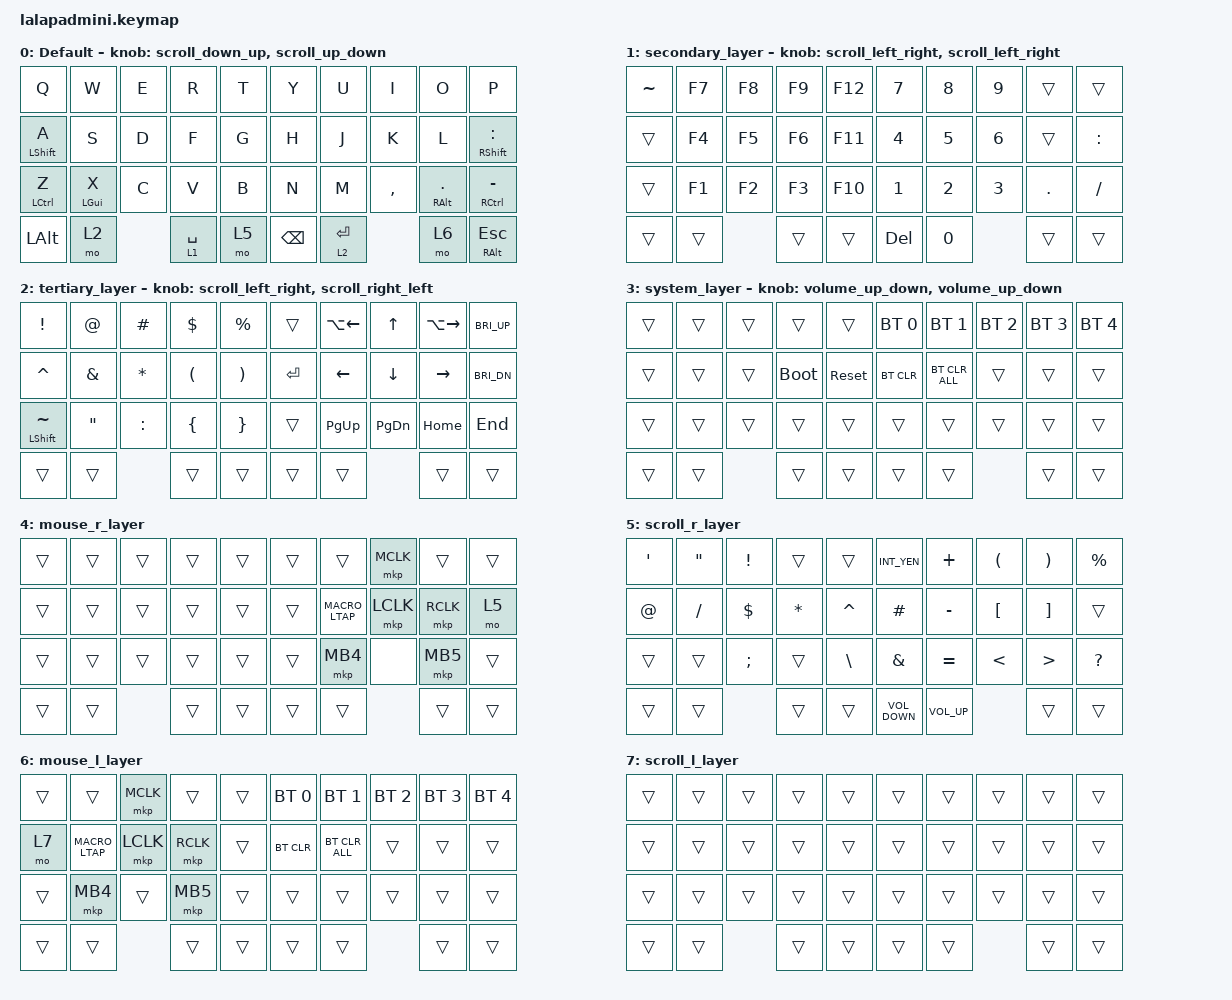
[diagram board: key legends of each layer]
#include <input/processors.dtsi>
#include <behaviors.dtsi>
#include <dt-bindings/zmk/bt.h>
#include <dt-bindings/zmk/keys.h>
#include <dt-bindings/zmk/pointing.h>

#define DEFAULT_LAYER   0
#define SECONDARY_LAYER 1
#define TERTIARY_LAYER  2
#define SYSTEM_LAYER    3
#define MOUSE_R_LAYER   4
#define SCROLL_R_LAYER  5
#define MOUSE_L_LAYER   6
#define SCROLL_L_LAYER  7

// Mouse Scroll Value

#define ZMK_POINTING_DEFAULT_SCRL_VAL 100

// cirque trackpad input&layer control

&glidepoint_listener_R {
    input-processors =
        <&zip_xy_transform (INPUT_TRANSFORM_XY_SWAP | INPUT_TRANSFORM_X_INVERT | INPUT_TRANSFORM_Y_INVERT)>,
        <&zip_xy_scaler 3 2>;

    lowspeedmode {
        layers = <SECONDARY_LAYER>;
        input-processors =
            <&zip_xy_transform (INPUT_TRANSFORM_XY_SWAP | INPUT_TRANSFORM_X_INVERT | INPUT_TRANSFORM_Y_INVERT)>,
            <&zip_xy_scaler 3 5>,
            <&zip_temp_layer MOUSE_R_LAYER 300>;
    };

    scroller {
        layers = <SCROLL_R_LAYER>;
        input-processors =
            <&zip_xy_to_scroll_mapper>,
            <&zip_scroll_transform (INPUT_TRANSFORM_XY_SWAP | INPUT_TRANSFORM_Y_INVERT)>,
            <&zip_scroll_scaler 1 32>;
    };
};

&glidepoint_listener_L {
    input-processors =
        <&zip_xy_transform (INPUT_TRANSFORM_XY_SWAP | INPUT_TRANSFORM_X_INVERT | INPUT_TRANSFORM_Y_INVERT)>,
        <&zip_xy_scaler 3 2>,
        <&zip_temp_layer MOUSE_L_LAYER 300>;

    lowspeedmode {
        layers = <TERTIARY_LAYER>;
        input-processors =
            <&zip_xy_transform (INPUT_TRANSFORM_XY_SWAP | INPUT_TRANSFORM_X_INVERT | INPUT_TRANSFORM_Y_INVERT)>,
            <&zip_xy_scaler 3 4>,
            <&zip_temp_layer MOUSE_L_LAYER 300>;
    };

    scroller {
        layers = <SCROLL_L_LAYER>;
        input-processors =
            <&zip_xy_to_scroll_mapper>,
            <&zip_scroll_transform (INPUT_TRANSFORM_XY_SWAP | INPUT_TRANSFORM_Y_INVERT)>,
            <&zip_scroll_scaler 1 32>;
    };
};

&mt { quick-tap-ms = <200>; };

&lt { quick-tap-ms = <200>; };

/ {
    behaviors {
        // Encoder to Mouse Scroll

        scroll_up_down: behavior_sensor_rotate_mouse_wheel_up_down {
            compatible = "zmk,behavior-sensor-rotate";
            #sensor-binding-cells = <0>;
            bindings = <&msc SCRL_UP>, <&msc SCRL_DOWN>;

            tap-ms = <20>;
        };

        scroll_down_up: behavior_sensor_rotate_mouse_wheel_down_up {
            compatible = "zmk,behavior-sensor-rotate";
            #sensor-binding-cells = <0>;
            bindings = <&msc SCRL_DOWN>, <&msc SCRL_UP>;

            tap-ms = <20>;
        };

        scroll_left_right: behavior_sensor_rotate_mouse_wheel_left_right {
            compatible = "zmk,behavior-sensor-rotate";
            #sensor-binding-cells = <0>;
            bindings = <&msc SCRL_LEFT>, <&msc SCRL_RIGHT>;

            tap-ms = <20>;
        };

        scroll_right_left: behavior_sensor_rotate_mouse_wheel_right_left {
            compatible = "zmk,behavior-sensor-rotate";
            #sensor-binding-cells = <0>;
            bindings = <&msc SCRL_RIGHT>, <&msc SCRL_LEFT>;

            tap-ms = <20>;
        };

        volume_up_down: behavior_sensor_rotate_volume_up_down {
            compatible = "zmk,behavior-sensor-rotate";
            #sensor-binding-cells = <0>;
            bindings = <&kp C_VOLUME_UP>, <&kp C_VOLUME_DOWN>;

            tap-ms = <20>;
        };

        mt2: mod_tap2 {
            compatible = "zmk,behavior-hold-tap";
            #binding-cells = <2>;
            flavor = "tap-preferred";
            tapping-term-ms = <200>;
            quick-tap-ms = <200>;
            require-prior-idle-ms = <125>;
            bindings = <&kp>, <&kp>;
        };

        tap_dance_layer_1and2: tap_dance_layer_1and2 {
            compatible = "zmk,behavior-tap-dance";
            label = "td_mo12";
            #binding-cells = <0>;
            bindings = <&mo 1>, <&mo 2>;
        };

        mt3: mod_tap3 {
            compatible = "zmk,behavior-hold-tap";
            bindings = <&kp>, <&kp>;

            #binding-cells = <2>;
            flavor = "tap-preferred";
            tapping-term-ms = <200>;
        };
    };

    combos {
        compatible = "zmk,combos";

        COMBO_TAB {
            bindings = <&kp TAB>;
            key-positions = <3 1>;
        };

        COMBO_SHIFTTAB {
            bindings = <&kp LS(TAB)>;
            key-positions = <3 2 1>;
        };

        COMBO_CLICK1 {
            bindings = <&mkp LCLK>;
            key-positions = <16 17>;
        };

        COMBO_CLICK2 {
            bindings = <&mkp RCLK>;
            key-positions = <17 18>;
        };

        COMBO_LANG1 {
            bindings = <&kp LANGUAGE_1>;
            key-positions = <27 28>;
        };

        COMBO_LANG2 {
            bindings = <&kp LANG2>;
            key-positions = <22 21>;
        };

        Scroll {
            bindings = <&mo 5>;
            key-positions = <16 17 18>;
        };

        COMBO_CLICK3 {
            bindings = <&mkp MCLK>;
            key-positions = <16 18>;
        };

        COMBO_ESC {
            bindings = <&kp ESCAPE>;
            key-positions = <1 2>;
        };

        COMBO_BACKSPACE {
            bindings = <&kp BACKSPACE>;
            key-positions = <12 13>;
        };
    };

    macros {
        MACRO_LTAP: MACRO_LTAP {
            compatible = "zmk,behavior-macro";
            #binding-cells = <0>;
            bindings = <&mkp LCLK>;
            label = "MACRO_LTAP";
        };
    };

    keymap {
        compatible = "zmk,keymap";

        DEFAULT_LAYER {
            display-name = "Default";
            sensor-bindings = <&scroll_down_up>, <&scroll_up_down>;

            bindings = <
&kp Q              &kp W           &kp E  &kp R        &kp T  &kp Y          &kp U        &kp I      &kp O                 &kp P
&mt3 LEFT_SHIFT A  &kp S           &kp D  &kp F        &kp G  &kp H          &kp J        &kp K      &kp L                 &mt3 RIGHT_SHIFT COLON
&mt2 LCTRL Z       &mt LEFT_GUI X  &kp C  &kp V        &kp B  &kp N          &kp M        &kp COMMA  &mt RIGHT_ALT PERIOD  &mt2 RIGHT_CONTROL MINUS
&kp LEFT_ALT       &mo 2                  &lt 1 SPACE  &mo 5  &kp BACKSPACE  &lt 2 ENTER             &mo 6                 &mt3 RIGHT_ALT ESCAPE
            >;
        };

        SECONDARY_LAYER {
            display-name = "secondary_layer";
            sensor-bindings = <&scroll_left_right>, <&scroll_left_right>;

            bindings = <
&kp TILDE  &kp F7  &kp F8  &kp F9  &kp F12  &kp N7      &kp N8  &kp N9  &trans   &trans
&trans     &kp F4  &kp F5  &kp F6  &kp F11  &kp N4      &kp N5  &kp N6  &trans   &kp COLON
&trans     &kp F1  &kp F2  &kp F3  &kp F10  &kp N1      &kp N2  &kp N3  &kp DOT  &kp SLASH
&trans     &trans          &trans  &trans   &kp DELETE  &kp N0          &trans   &trans
            >;
        };

        TERTIARY_LAYER {
            display-name = "tertiary_layer";
            bindings = <
&kp EXCLAMATION       &kp AT_SIGN        &kp HASH      &kp DOLLAR            &kp PERCENT            &trans     &kp LA(LEFT)  &kp UP_ARROW   &kp LA(RIGHT)  &kp C_BRI_UP
&kp CARET             &kp AMPERSAND      &kp ASTERISK  &kp LEFT_PARENTHESIS  &kp RIGHT_PARENTHESIS  &kp ENTER  &kp LEFT      &kp DOWN       &kp RIGHT      &kp C_BRI_DN
&mt LEFT_SHIFT TILDE  &kp DOUBLE_QUOTES  &kp COLON     &kp LEFT_BRACE        &kp RIGHT_BRACE        &trans     &kp PAGE_UP   &kp PAGE_DOWN  &kp HOME       &kp END
&trans                &trans                           &trans                &trans                 &trans     &trans                       &trans         &trans
            >;

            sensor-bindings = <&scroll_left_right>, <&scroll_right_left>;
        };

        SYSTEM_LAYER {
            display-name = "system_layer";
            sensor-bindings = <&volume_up_down>, <&volume_up_down>;

            bindings = <
&trans  &trans  &trans  &trans       &trans      &bt BT_SEL 0  &bt BT_SEL 1    &bt BT_SEL 2  &bt BT_SEL 3  &bt BT_SEL 4
&trans  &trans  &trans  &bootloader  &sys_reset  &bt BT_CLR    &bt BT_CLR_ALL  &trans        &trans        &trans
&trans  &trans  &trans  &trans       &trans      &trans        &trans          &trans        &trans        &trans
&trans  &trans          &trans       &trans      &trans        &trans                        &trans        &trans
            >;
        };

        MOUSE_R_LAYER {
            display-name = "mouse_r_layer";
            bindings = <
&trans  &trans  &trans  &trans  &trans  &trans  &trans       &mkp MCLK  &trans     &trans
&trans  &trans  &trans  &trans  &trans  &trans  &MACRO_LTAP  &mkp LCLK  &mkp RCLK  &mo 5
&trans  &trans  &trans  &trans  &trans  &trans  &mkp MB4     &none      &mkp MB5   &trans
&trans  &trans          &trans  &trans  &trans  &trans                  &trans     &trans
            >;
        };

        SCROLL_R_LAYER {
            display-name = "scroll_r_layer";
            bindings = <
&kp SINGLE_QUOTE  &kp DOUBLE_QUOTES  &kp EXCL       &trans     &trans         &kp INT_YEN        &kp PLUS         &kp LEFT_PARENTHESIS  &kp RIGHT_PARENTHESIS  &kp PERCENT
&kp AT_SIGN       &kp SLASH          &kp DOLLAR     &kp ASTRK  &kp CARET      &kp HASH           &kp MINUS        &kp LEFT_BRACKET      &kp RIGHT_BRACKET      &trans
&trans            &trans             &kp SEMICOLON  &trans     &kp BACKSLASH  &kp AMPERSAND      &kp EQUAL        &kp LESS_THAN         &kp GREATER_THAN       &kp QUESTION
&trans            &trans                            &trans     &trans         &kp C_VOLUME_DOWN  &kp C_VOLUME_UP                        &trans                 &trans
            >;
        };

        MOUSE_L_LAYER {
            display-name = "mouse_l_layer";
            bindings = <
&trans  &trans       &mkp MCLK  &trans     &trans  &bt BT_SEL 0  &bt BT_SEL 1    &bt BT_SEL 2  &bt BT_SEL 3  &bt BT_SEL 4
&mo 7   &MACRO_LTAP  &mkp LCLK  &mkp RCLK  &trans  &bt BT_CLR    &bt BT_CLR_ALL  &trans        &trans        &trans
&trans  &mkp MB4     &trans     &mkp MB5   &trans  &trans        &trans          &trans        &trans        &trans
&trans  &trans                  &trans     &trans  &trans        &trans                        &trans        &trans
            >;
        };

        SCROLL_L_LAYER {
            display-name = "scroll_l_layer";
            bindings = <
&trans  &trans  &trans  &trans  &trans  &trans  &trans  &trans  &trans  &trans
&trans  &trans  &trans  &trans  &trans  &trans  &trans  &trans  &trans  &trans
&trans  &trans  &trans  &trans  &trans  &trans  &trans  &trans  &trans  &trans
&trans  &trans          &trans  &trans  &trans  &trans          &trans  &trans
            >;
        };
    };

    conditional_layers {
        compatible = "zmk,conditional-layers";

        System_layer {
            if-layers = <1 2>;
            then-layer = <3>;
        };
    };
};
